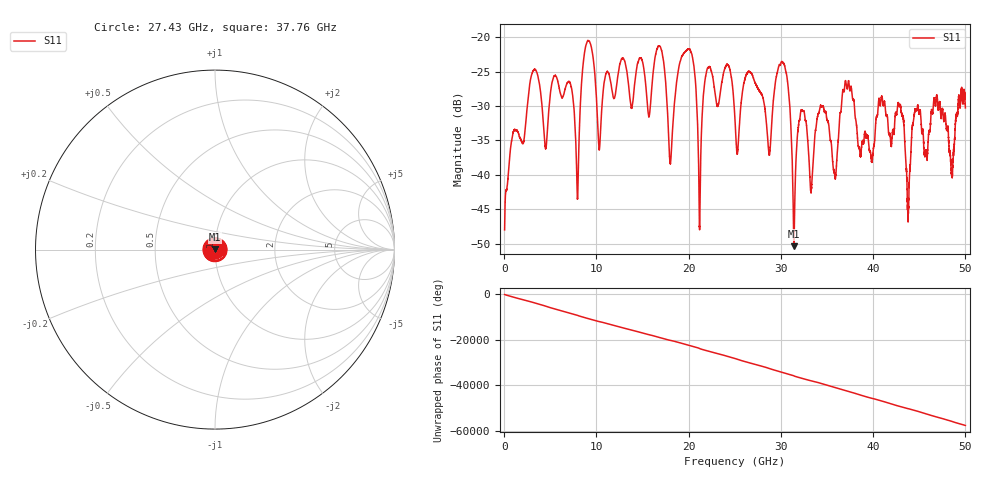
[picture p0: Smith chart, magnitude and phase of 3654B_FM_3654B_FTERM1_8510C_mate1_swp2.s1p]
!Created with skrf (http://scikit-rf.org).
# Hz S RI R 50.0
!freq ReS11 ImS11
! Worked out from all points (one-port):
!   10001 points, 45 MHz to 50 GHz, reference 50 ohm
!   lowest |S11| = -50.4 dB at 31.4 GHz (marker M1), VSWR 1.01, Z = 49.8 + j0.202 ohm
!   |S11| at or under -10 dB: start of sweep to end of sweep
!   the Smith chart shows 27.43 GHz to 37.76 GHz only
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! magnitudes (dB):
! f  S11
! 45 MHz  -48.0
! 3.112 GHz  -24.9
! 6.289 GHz  -28.8
! 7.928 GHz  -43.2
! 8.982 GHz  -20.7
! 10.31 GHz  -36.3
! 12.53 GHz  -23.9
! 16.9 GHz  -21.3
! 18.02 GHz  -38.3
! 18.78 GHz  -25.6
! 20.33 GHz  -22.4
! 21.19 GHz  -47.7
! 22.13 GHz  -24.4
! 25.02 GHz  -32.1
! 26.67 GHz  -25.1
! 28.74 GHz  -37.1
! 30.22 GHz  -23.6
! 31.27 GHz  -39.9
! 31.4 GHz  -50.4
! 32.27 GHz  -30.6
! 35.83 GHz  -39.9
! 37.51 GHz  -27.7
! 39.79 GHz  -37.8
! 42.89 GHz  -29.8
! 43.76 GHz  -45.6
! 44.67 GHz  -30.6
! 48.5 GHz  -39.8
! 50 GHz  -30.3
